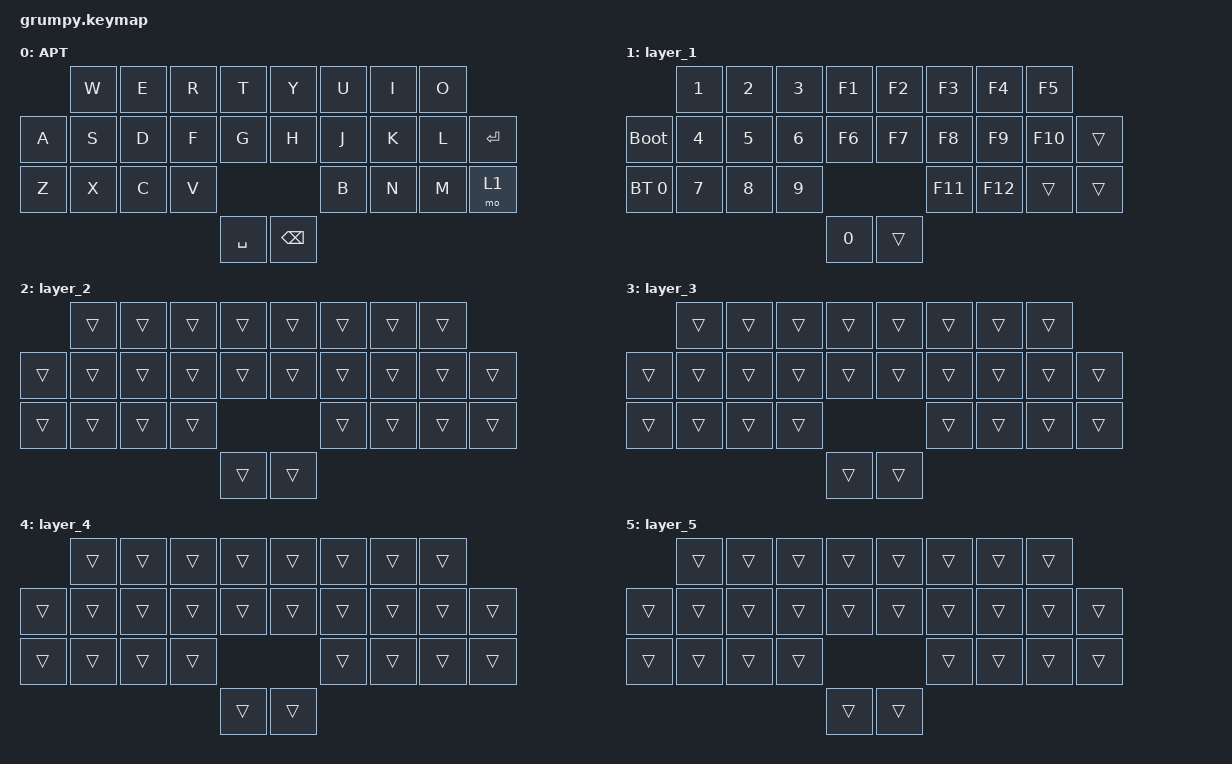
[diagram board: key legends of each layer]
#include "base_grumpy.h"
#include <behaviors.dtsi>
#include <dt-bindings/zmk/bt.h>
#include <dt-bindings/zmk/keys.h>

//   ____________________________  ____________________________
//  /       0  |  1  |  2  |  3  \/   4 |   5 |   6 |   7      \
// |  8  |  9  | 10  | 11  | 12  /\  13 |  14 |  15 |  16 | 17  |
// | 19  | 19  | 20  | 21       /  \       22 |  23 |  24 | 25  |
//                      \  26  /    \  27  /
//                       ------      ------

/ {
    keymap {
        compatible = "zmk,keymap";

        aptmak {
            label = "APT";
            bindings = <
       &kp W  &kp E  &kp R  &kp T      &kp Y          &kp U  &kp I  &kp O
&kp A  &kp S  &kp D  &kp F  &kp G      &kp H          &kp J  &kp K  &kp L  &kp ENTER
&kp Z  &kp X  &kp C  &kp V                            &kp B  &kp N  &kp M  &mo 1
                            &kp SPACE  &kp BACKSPACE
            >;
        };

        layer_1 {
            bindings = <
              &kp N1  &kp N2  &kp N3  &kp F1  &kp F2  &kp F3   &kp F4   &kp F5
&bootloader   &kp N4  &kp N5  &kp N6  &kp F6  &kp F7  &kp F8   &kp F9   &kp F10  &trans
&bt BT_SEL 0  &kp N7  &kp N8  &kp N9                  &kp F11  &kp F12  &trans   &trans
                                      &kp N0  &trans
            >;
        };

        layer_2 {
            bindings = <
        &trans  &trans  &trans  &trans  &trans  &trans  &trans  &trans
&trans  &trans  &trans  &trans  &trans  &trans  &trans  &trans  &trans  &trans
&trans  &trans  &trans  &trans                  &trans  &trans  &trans  &trans
                                &trans  &trans
            >;
        };

        layer_3 {
            bindings = <
        &trans  &trans  &trans  &trans  &trans  &trans  &trans  &trans
&trans  &trans  &trans  &trans  &trans  &trans  &trans  &trans  &trans  &trans
&trans  &trans  &trans  &trans                  &trans  &trans  &trans  &trans
                                &trans  &trans
            >;
        };

        layer_4 {
            bindings = <
        &trans  &trans  &trans  &trans  &trans  &trans  &trans  &trans
&trans  &trans  &trans  &trans  &trans  &trans  &trans  &trans  &trans  &trans
&trans  &trans  &trans  &trans                  &trans  &trans  &trans  &trans
                                &trans  &trans
            >;
        };

        layer_5 {
            bindings = <
        &trans  &trans  &trans  &trans  &trans  &trans  &trans  &trans
&trans  &trans  &trans  &trans  &trans  &trans  &trans  &trans  &trans  &trans
&trans  &trans  &trans  &trans                  &trans  &trans  &trans  &trans
                                &trans  &trans
            >;
        };
    };
};
